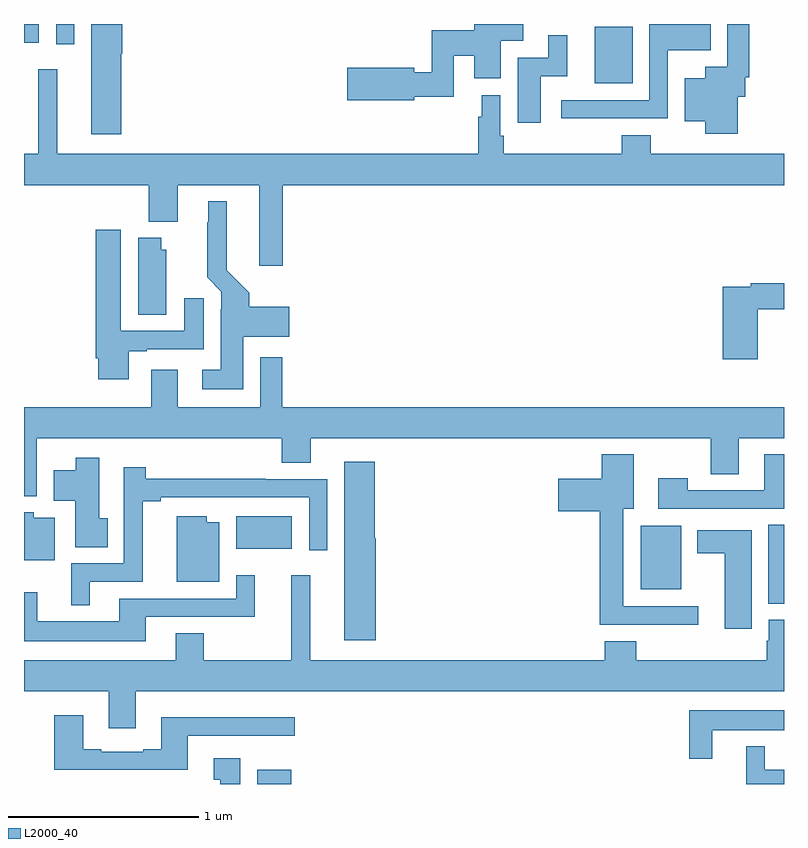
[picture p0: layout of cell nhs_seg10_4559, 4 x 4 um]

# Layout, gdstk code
import gdstk
lib = gdstk.Library(unit=1e-6, precision=1e-09)
def R(c, l, rs):  # rectangles x0, y0, x1, y1
    for r in rs: c.add(gdstk.rectangle(r[:2], r[2:], *l))
def P(c, l, *ps):  # polygons
    for p in ps: c.add(gdstk.Polygon(p, *l))
L2000_40 = (2000, 40)

nhs_seg10_4559 = lib.new_cell('nhs_seg10_4559')
R(nhs_seg10_4559, L2000_40, [(372.227,1294.5,372.406,1294.576), (374.918,1295.449,375,1295.864), (374.246,1295.525,374.458,1295.86), (372.116,1295.738,372.409,1295.908), (374.003,1298.189,374.203,1298.485), (371.169,1298.394,371.265,1298.5), (371,1298.402,371.077,1298.5)])
P(nhs_seg10_4559, L2000_40, [(374.063,1298.004),(374.388,1298.004),(374.388,1298.363),(374.615,1298.363),(374.615,1298.5),(374.292,1298.5),(374.292,1298.1),(373.827,1298.1),(373.827,1298.003),(374.063,1298.003)],
  [(373.054,1298.118),(373.263,1298.118),(373.263,1298.332),(373.37,1298.332),(373.37,1298.214),(373.51,1298.214),(373.51,1298.411),(373.627,1298.411),(373.627,1298.5),(373.37,1298.5),(373.37,1298.468),(373.147,1298.468),(373.147,1298.246),(373.054,1298.246),(373.054,1298.27),(372.702,1298.27),(372.702,1298.099),(373.054,1298.099)],
  [(371.513,1298.343),(371.518,1298.343),(371.518,1298.5),(371.354,1298.5),(371.354,1297.92),(371.513,1297.92)],
  [(374.756,1298.117),(374.796,1298.117),(374.796,1298.221),(374.816,1298.221),(374.816,1298.5),(374.7,1298.5),(374.7,1298.275),(374.585,1298.275),(374.585,1298.215),(374.477,1298.215),(374.477,1297.988),(374.585,1297.988),(374.585,1297.923),(374.756,1297.923)],
  [(373.72,1298.226),(373.858,1298.226),(373.858,1298.44),(373.76,1298.44),(373.76,1298.322),(373.598,1298.322),(373.598,1297.98),(373.72,1297.98)],
  [(372.362,1297.652),(375,1297.652),(375,1297.816),(374.299,1297.816),(374.299,1297.915),(374.147,1297.915),(374.147,1297.816),(373.526,1297.816),(373.526,1297.912),(373.506,1297.912),(373.506,1298.125),(373.409,1298.125),(373.409,1298.012),(373.39,1298.012),(373.39,1297.816),(371.174,1297.816),(371.174,1298.263),(371.075,1298.263),(371.075,1297.816),(371,1297.816),(371,1297.652),(371.657,1297.652),(371.657,1297.46),(371.809,1297.46),(371.809,1297.652),(372.239,1297.652),(372.239,1297.227),(372.362,1297.227)],
  [(372.154,1296.854),(372.397,1296.854),(372.397,1297.012),(372.185,1297.012),(372.185,1297.086),(372.067,1297.204),(372.067,1297.567),(371.969,1297.567),(371.969,1297.457),(371.965,1297.457),(371.965,1297.166),(372.039,1297.092),(372.039,1296.998),(372.035,1296.998),(372.035,1296.679),(371.937,1296.679),(371.937,1296.578),(372.154,1296.578)],
  [(371.551,1296.777),(371.647,1296.777),(371.647,1296.789),(371.947,1296.789),(371.947,1297.057),(371.843,1297.057),(371.843,1296.885),(371.509,1296.885),(371.509,1297.417),(371.378,1297.417),(371.378,1296.742),(371.39,1296.742),(371.39,1296.63),(371.551,1296.63)],
  [(371.749,1297.311),(371.722,1297.311),(371.722,1297.375),(371.6,1297.375),(371.6,1296.97),(371.749,1296.97)],
  [(374.861,1297),(375,1297),(375,1297.136),(374.824,1297.136),(374.824,1297.116),(374.678,1297.116),(374.678,1296.735),(374.861,1296.735)],
  [(371.067,1296.32),(372.356,1296.32),(372.356,1296.19),(372.508,1296.19),(372.508,1296.32),(374.614,1296.32),(374.614,1296.13),(374.761,1296.13),(374.761,1296.32),(375,1296.32),(375,1296.484),(372.359,1296.484),(372.359,1296.745),(372.243,1296.745),(372.243,1296.484),(371.809,1296.484),(371.809,1296.679),(371.669,1296.679),(371.669,1296.484),(371,1296.484),(371,1296.014),(371.067,1296.014)],
  [(375,1296.235),(374.897,1296.235),(374.897,1296.045),(374.493,1296.045),(374.493,1296.109),(374.337,1296.109),(374.337,1295.949),(375,1295.949)],
  [(374.548,1295.436),(374.155,1295.436),(374.155,1295.948),(374.209,1295.948),(374.209,1296.235),(374.042,1296.235),(374.042,1296.106),(373.812,1296.106),(373.812,1295.936),(374.03,1295.936),(374.03,1295.339),(374.548,1295.339)],
  [(371.441,1295.898),(371.395,1295.898),(371.395,1296.217),(371.273,1296.217),(371.273,1296.151),(371.156,1296.151),(371.156,1295.99),(371.27,1295.99),(371.27,1295.746),(371.441,1295.746)],
  [(372.85,1295.793),(372.845,1295.793),(372.845,1296.196),(372.686,1296.196),(372.686,1295.256),(372.85,1295.256)],
  [(371.347,1295.565),(371.624,1295.565),(371.624,1295.989),(371.719,1295.989),(371.719,1296.009),(372.501,1296.009),(372.501,1295.73),(372.597,1295.73),(372.597,1296.105),(372.272,1296.105),(372.272,1296.107),(371.642,1296.107),(371.642,1296.166),(371.526,1296.166),(371.526,1295.661),(371.249,1295.661),(371.249,1295.441),(371.347,1295.441)],
  [(371.161,1295.902),(371.052,1295.902),(371.052,1295.929),(371,1295.929),(371,1295.678),(371.161,1295.678)],
  [(372.028,1295.878),(371.962,1295.878),(371.962,1295.908),(371.804,1295.908),(371.804,1295.564),(372.028,1295.564)],
  [(374.83,1295.836),(374.543,1295.836),(374.543,1295.714),(374.687,1295.714),(374.687,1295.316),(374.83,1295.316)],
  [(371.641,1295.379),(372.215,1295.379),(372.215,1295.599),(372.117,1295.599),(372.117,1295.475),(371.501,1295.475),(371.501,1295.356),(371.071,1295.356),(371.071,1295.509),(371,1295.509),(371,1295.252),(371.641,1295.252)],
  [(375,1295.364),(374.921,1295.364),(374.921,1295.253),(374.909,1295.253),(374.909,1295.152),(374.222,1295.152),(374.222,1295.251),(374.057,1295.251),(374.057,1295.152),(372.506,1295.152),(372.506,1295.599),(372.407,1295.599),(372.407,1295.152),(371.946,1295.152),(371.946,1295.294),(371.798,1295.294),(371.798,1295.152),(371,1295.152),(371,1294.988),(371.447,1294.988),(371.447,1294.794),(371.587,1294.794),(371.587,1294.988),(375,1294.988)],
  [(374.623,1294.784),(375,1294.784),(375,1294.888),(374.502,1294.888),(374.502,1294.632),(374.623,1294.632)],
  [(371.863,1294.755),(372.424,1294.755),(372.424,1294.852),(371.723,1294.852),(371.723,1294.684),(371.627,1294.684),(371.627,1294.671),(371.407,1294.671),(371.407,1294.684),(371.311,1294.684),(371.311,1294.861),(371.159,1294.861),(371.159,1294.574),(371.863,1294.574)],
  [(375,1294.575),(374.899,1294.575),(374.899,1294.699),(374.801,1294.699),(374.801,1294.5),(375,1294.5)],
  [(372.139,1294.636),(371.999,1294.636),(371.999,1294.523),(372.032,1294.523),(372.032,1294.5),(372.139,1294.5)])

lib.write_gds('nhs_seg10_4559.gds')
